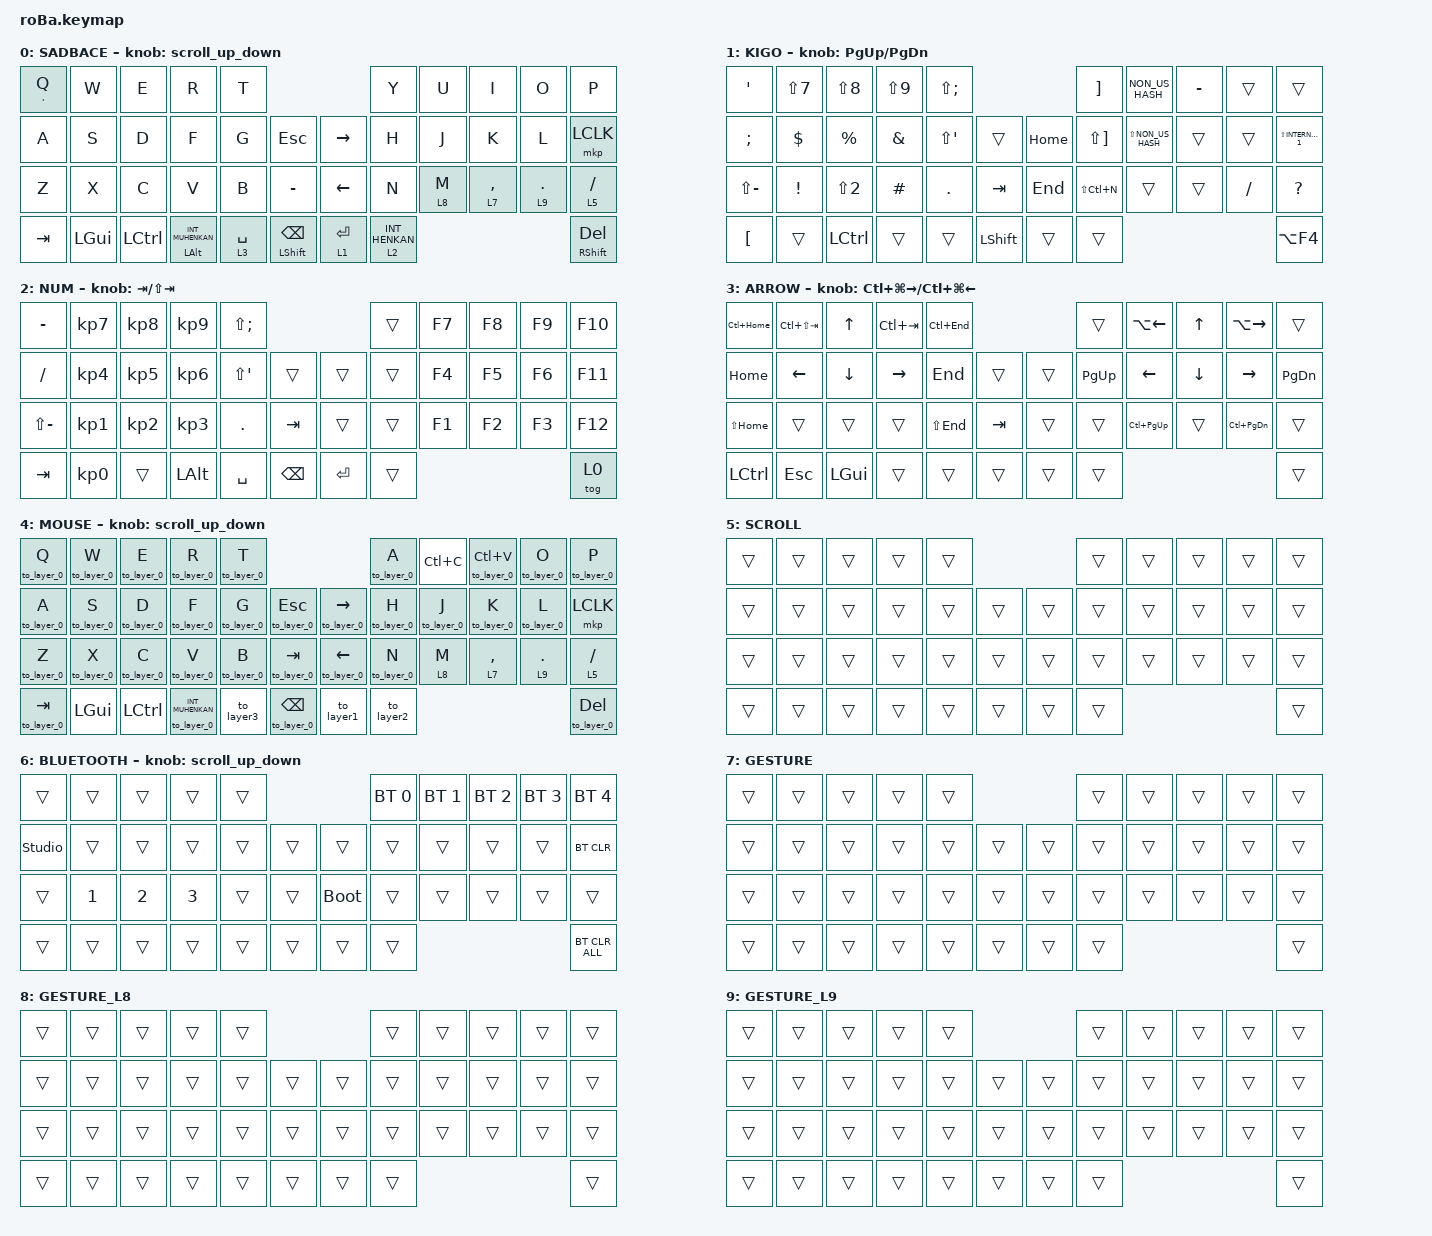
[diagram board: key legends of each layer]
#define ZMK_POINTING_DEFAULT_SCRL_VAL 80

#include <mouse-gesture.dtsi>
#include <behaviors.dtsi>
#include <dt-bindings/zmk/bt.h>
#include <dt-bindings/zmk/keys.h>
#include <dt-bindings/zmk/pointing.h>

// JIS 配列（OS 側のキーボード設定が日本語）で記号を正しく出すためのキーコード
#define JP_AT     LEFT_BRACKET
#define JP_LBKT   RIGHT_BRACKET
#define JP_RBKT   NON_US_HASH
#define JP_LBRC   LS(RIGHT_BRACKET)
#define JP_RBRC   LS(NON_US_HASH)
#define JP_COLON  SINGLE_QUOTE
#define JP_SQT    LS(NUMBER_7)
#define JP_DQT    LS(NUMBER_2)
#define JP_LPAR   LS(NUMBER_8)
#define JP_RPAR   LS(NUMBER_9)
#define JP_PLUS   LS(SEMICOLON)
#define JP_ASTRK  LS(SINGLE_QUOTE)
#define JP_EQUAL  LS(MINUS)
#define JP_UNDER  LS(INTERNATIONAL_1)

&mt {
    flavor = "balanced";
    quick-tap-ms = <0>;
};

&sl { release-after-ms = <250>; };

/ {
    combos {
        compatible = "zmk,combos";

        rightclike {
            bindings = <&mkp RCLK>;
            key-positions = <20 21>;
        };

        kyu-kei {
            bindings = <&kp LG(L)>;
            key-positions = <8 9>;
        };

        num {
            bindings = <&tog 2>;
            key-positions = <31 33 32>;
        };

        BT1 {
            bindings = <&bt BT_SEL 1>;
            key-positions = <6 5>;
        };

        BT2 {
            bindings = <&bt BT_SEL 2>;
            key-positions = <17 18>;
        };

        kasodesk {
            bindings = <&kp LG(LC(RIGHT_ARROW))>;
            key-positions = <16 17>;
        };

        kasodesk2 {
            bindings = <&kp LC(LG(LEFT))>;
            key-positions = <28 29>;
        };

        gaemnido {
            bindings = <&kp LG(LS(LEFT_ARROW))>;
            key-positions = <4 14>;
        };

        psc {
            bindings = <&kp PRINTSCREEN>;
            key-positions = <34 35>;
        };

        psct {
            bindings = <&kp LG(LS(S))>;
            key-positions = <22 23>;
        };

        zengamen {
            bindings = <&kp LG(UP_ARROW)>;
            key-positions = <5 17>;
        };

        layer6 {
            bindings = <&to 6>;
            key-positions = <0 10>;
        };
    };

    macros {
        to_layer_0: to_layer_0 {
            compatible = "zmk,behavior-macro-one-param";
            #binding-cells = <1>;
            bindings = <&to 0 &macro_param_1to1 &kp MACRO_PLACEHOLDER>;
            label = "TO_LAYER_0";
        };

        to_layer1: to_layer1 {
            compatible = "zmk,behavior-macro";
            #binding-cells = <0>;
            bindings =
                <&macro_tap>,
                <&to 1>,
                <&macro_pause_for_release>,
                <&macro_tap>,
                <&to 0>;

            label = "TO_LAYER1";
        };

        to_layer2: to_layer2 {
            compatible = "zmk,behavior-macro";
            #binding-cells = <0>;
            bindings =
                <&macro_tap>,
                <&to 2>,
                <&macro_pause_for_release>,
                <&macro_tap>,
                <&to 0>;

            label = "TO_LAYER2";
        };

        to_layer3: to_layer3 {
            compatible = "zmk,behavior-macro";
            #binding-cells = <0>;
            bindings =
                <&macro_tap>,
                <&to 3>,
                <&macro_pause_for_release>,
                <&macro_tap>,
                <&to 0>;

            label = "TO_LAYER3";
        };

        kakko: kakko {
            compatible = "zmk,behavior-macro";
            #binding-cells = <0>;
            bindings = <&kp INT_HENKAN &kp JP_LPAR &kp JP_RPAR &kp LEFT>;
            label = "NEW_MACRO";
        };

        mkp_exit_AML: mkp_exit_AML {
            compatible = "zmk,behavior-macro-one-param";
            #binding-cells = <1>;
            bindings =
                <&macro_press>,
                <&macro_param_1to1 &mkp MACRO_PLACEHOLDER>,
                <&macro_pause_for_release>,
                <&macro_release>,
                <&macro_param_1to1 &mkp MACRO_PLACEHOLDER>,
                <&macro_tap>,
                <&sl 4>;

            label = "MKP_EXIT_AML";
        };

        zerozero_macro: new_macro {
            compatible = "zmk,behavior-macro";
            #binding-cells = <0>;
            bindings = <&kp KP_NUMBER_0 &kp KP_NUMBER_0>;
            label = "NEW_MACRO";
        };
    };

    behaviors {
        lt_to_layer_0: lt_to_layer_0 {
            compatible = "zmk,behavior-hold-tap";
            label = "LAYER_TAP_TO_0";
            bindings = <&mo>, <&to_layer_0>;

            #binding-cells = <2>;
            tapping-term-ms = <200>;
        };

        scroll_up_down: mouse_wheel_up_down {
            compatible = "zmk,behavior-sensor-rotate";
            #sensor-binding-cells = <0>;
            tap-ms = <20>;
            bindings = <&msc SCRL_UP>, <&msc SCRL_DOWN>;
        };
    };

    layer_listeners {
        compatible = "zmk,layer-listeners";

        gesture_on_l7 {
            layers = <7>;
            bindings = <&mouse_gesture_on &mouse_gesture_off>;
        };

        gesture_on_l8 {
            layers = <8>;
            bindings = <&mouse_gesture_on &mouse_gesture_off>;
        };

        gesture_on_l9 {
            layers = <9>;
            bindings = <&mouse_gesture_on &mouse_gesture_off>;
        };
    };

    keymap {
        compatible = "zmk,keymap";

        default_layer {
            display-name = "SADBACE";
            bindings = <
&mt JP_COLON Q  &kp W       &kp E      &kp R                      &kp T                                                   &kp Y             &kp U    &kp I        &kp O         &kp P
&kp A        &kp S         &kp D      &kp F                      &kp G        &kp ESCAPE                &kp RIGHT_ARROW  &kp H             &kp J    &kp K        &kp L         &mkp LCLK
&kp Z        &kp X         &kp C      &kp V                      &kp B        &kp MINUS                 &kp LEFT_ARROW   &kp N             &lt 8 M  &lt 7 COMMA  &lt 9 PERIOD  &lt 5 SLASH
&kp TAB      &kp LEFT_GUI  &kp LCTRL  &mt LEFT_ALT INT_MUHENKAN  &lt 3 SPACE  &mt LSHIFT BACKSPACE      &lt 1 ENTER      &lt 2 INT_HENKAN                                      &mt RSHIFT DELETE
            >;

            sensor-bindings = <&scroll_up_down>;
        };

        FUNCTION {
            display-name = "KIGO";
            bindings = <
&kp JP_COLON   &kp JP_SQT       &kp JP_LPAR           &kp JP_RPAR            &kp JP_PLUS                                 &kp JP_LBKT       &kp JP_RBKT        &kp MINUS  &trans     &trans
&kp SEMICOLON  &kp DOLLAR       &kp PERCENT           &kp AMPERSAND          &kp JP_ASTRK  &trans              &kp HOME  &kp JP_LBRC       &kp JP_RBRC        &trans     &trans     &kp JP_UNDER
&kp JP_EQUAL   &kp EXCLAMATION  &kp JP_DQT            &kp HASH               &kp PERIOD    &kp TAB             &kp END   &kp LS(LC(N))     &trans             &trans     &kp SLASH  &kp QMARK
&kp JP_AT      &trans         &kp LCTRL             &trans                 &trans        &kp LEFT_SHIFT      &trans    &trans                                                     &kp LA(F4)
            >;

            sensor-bindings = <&inc_dec_kp PAGE_UP PAGE_DOWN>;
        };

        NUM {
            display-name = "NUM";
            bindings = <
&kp MINUS  &kp KP_NUMBER_7  &kp KP_NUMBER_8  &kp KP_NUMBER_9  &kp JP_PLUS                               &trans  &kp F7  &kp F8  &kp F9  &kp F10
&kp SLASH  &kp KP_NUMBER_4  &kp KP_NUMBER_5  &kp KP_NUMBER_6  &kp JP_ASTRK &trans             &trans     &trans  &kp F4  &kp F5  &kp F6  &kp F11
&kp JP_EQUAL  &kp KP_NUMBER_1  &kp KP_NUMBER_2  &kp KP_NUMBER_3  &kp PERIOD    &kp TAB            &trans     &trans  &kp F1  &kp F2  &kp F3  &kp F12
&kp TAB    &kp KP_NUMBER_0  &trans           &kp LEFT_ALT     &kp SPACE     &kp BACKSPACE      &kp ENTER  &trans                          &tog 0
            >;

            sensor-bindings = <&inc_dec_kp TAB LS(TAB)>;
        };

        ARROW {
            display-name = "ARROW";
            bindings = <
&kp LC(HOME)  &kp LC(LS(TAB))  &kp UP_ARROW    &kp LC(TAB)      &kp LC(END)                       &trans       &kp LA(LEFT_ARROW)  &kp UP_ARROW  &kp LA(RIGHT_ARROW)  &trans
&kp HOME      &kp LEFT_ARROW   &kp DOWN_ARROW  &kp RIGHT_ARROW  &kp END      &trans       &trans  &kp PAGE_UP  &kp LEFT            &kp DOWN      &kp RIGHT            &kp PAGE_DOWN
&kp LS(HOME)  &trans           &trans          &trans           &kp LS(END)  &kp TAB      &trans  &trans       &kp LC(PAGE_UP)     &trans        &kp LC(PAGE_DOWN)    &trans
&kp LCTRL     &kp ESCAPE       &kp LEFT_GUI    &trans           &trans       &trans       &trans  &trans                                                              &trans
            >;

            sensor-bindings = <&inc_dec_kp LC(LG(RIGHT)) LC(LG(LEFT))>;
        };

        MOUSE {
            display-name = "MOUSE";
            bindings = <
&to_layer_0 Q    &to_layer_0 W  &to_layer_0 E  &to_layer_0 R             &to_layer_0 T                                                &to_layer_0 A  &kp LC(C)           &to_layer_0 LC(V)       &to_layer_0 O            &to_layer_0 P
&to_layer_0 A    &to_layer_0 S  &to_layer_0 D  &to_layer_0 F             &to_layer_0 G  &to_layer_0 ESCAPE         &to_layer_0 RIGHT  &to_layer_0 H  &to_layer_0 J       &to_layer_0 K           &to_layer_0 L            &mkp LCLK
&to_layer_0 Z    &to_layer_0 X  &to_layer_0 C  &to_layer_0 V             &to_layer_0 B  &to_layer_0 TAB            &to_layer_0 LEFT   &to_layer_0 N  &lt_to_layer_0 8 M  &lt_to_layer_0 7 COMMA  &lt_to_layer_0 9 PERIOD  &lt_to_layer_0 5 SLASH
&to_layer_0 TAB  &kp LEFT_GUI   &kp LCTRL      &to_layer_0 INT_MUHENKAN  &to_layer3     &to_layer_0 BACKSPACE      &to_layer1         &to_layer2                                                                          &to_layer_0 DELETE
            >;

            sensor-bindings = <&scroll_up_down>;
        };

        SCROLL {
            display-name = "SCROLL";
            bindings = <
&trans  &trans  &trans  &trans  &trans                      &trans  &trans  &trans  &trans  &trans
&trans  &trans  &trans  &trans  &trans  &trans      &trans  &trans  &trans  &trans  &trans  &trans
&trans  &trans  &trans  &trans  &trans  &trans      &trans  &trans  &trans  &trans  &trans  &trans
&trans  &trans  &trans  &trans  &trans  &trans      &trans  &trans                          &trans
            >;
        };

        layer_6 {
            display-name = "BLUETOOTH";
            bindings = <
&trans  &trans        &trans        &trans        &trans                           &bt BT_SEL 0  &bt BT_SEL 1  &bt BT_SEL 2  &bt BT_SEL 3  &bt BT_SEL 4
&studio_unlock  &trans        &trans        &trans        &trans  &trans      &trans       &trans        &trans        &trans        &trans        &bt BT_CLR
&trans  &kp NUMBER_1  &kp NUMBER_2  &kp NUMBER_3  &trans  &trans      &bootloader  &trans        &trans        &trans        &trans        &trans
&trans  &trans        &trans        &trans        &trans  &trans      &trans       &trans                                                  &bt BT_CLR_ALL
            >;

            sensor-bindings = <&scroll_up_down>;
        };

        GESTURE {
            display-name = "GESTURE";
            bindings = <
&trans  &trans  &trans  &trans  &trans                      &trans  &trans  &trans  &trans  &trans
&trans  &trans  &trans  &trans  &trans  &trans      &trans  &trans  &trans  &trans  &trans  &trans
&trans  &trans  &trans  &trans  &trans  &trans      &trans  &trans  &trans  &trans  &trans  &trans
&trans  &trans  &trans  &trans  &trans  &trans      &trans  &trans                          &trans
            >;
        };

        GESTURE1 {
            display-name = "GESTURE_L8";
            bindings = <
&trans  &trans  &trans  &trans  &trans                      &trans  &trans  &trans  &trans  &trans
&trans  &trans  &trans  &trans  &trans  &trans      &trans  &trans  &trans  &trans  &trans  &trans
&trans  &trans  &trans  &trans  &trans  &trans      &trans  &trans  &trans  &trans  &trans  &trans
&trans  &trans  &trans  &trans  &trans  &trans      &trans  &trans                          &trans
            >;
        };

        GESTURE2 {
            display-name = "GESTURE_L9";
            bindings = <
&trans  &trans  &trans  &trans  &trans                      &trans  &trans  &trans  &trans  &trans
&trans  &trans  &trans  &trans  &trans  &trans      &trans  &trans  &trans  &trans  &trans  &trans
&trans  &trans  &trans  &trans  &trans  &trans      &trans  &trans  &trans  &trans  &trans  &trans
&trans  &trans  &trans  &trans  &trans  &trans      &trans  &trans                          &trans
            >;
        };
    };
};

&zip_mouse_gesture {
    stroke-size = <200>;
    enable-eager-mode;
    idle-timeout-ms = <150>;
    gesture-cooldown-ms = <300>;

    task_view {
        pattern = <GESTURE_UP>;
        bindings = <&kp LG(D)>;
    };

    show_desk {
        pattern = <GESTURE_DOWN>;
        bindings = <&kp LG(TAB)>;
    };

    vdesk_prev {
        pattern = <GESTURE_LEFT>;
        bindings = <&kp LG(LC(RIGHT))>;
    };

    vdesk_next {
        pattern = <GESTURE_RIGHT>;
        bindings = <&kp LG(LC(LEFT))>;
    };
};

/ {
    zip_mouse_gesture_l8: zip_mouse_gesture_l8 {
        compatible = "zmk,input-processor-mouse-gesture";
        #input-processor-cells = <0>;
        enable-eager-mode;
        stroke-size = <200>;
        idle-timeout-ms = <150>;
        gesture-cooldown-ms = <300>;

        select_all {
            pattern = <GESTURE_UP>;
            bindings = <&kp LC(A)>;
        };

        undo {
            pattern = <GESTURE_DOWN>;
            bindings = <&kp LC(Z)>;
        };

        copy {
            pattern = <GESTURE_LEFT>;
            bindings = <&kp LC(C)>;
        };

        paste {
            pattern = <GESTURE_RIGHT>;
            bindings = <&kp LC(V)>;
        };
    };

    zip_mouse_gesture_l9: zip_mouse_gesture_l9 {
        compatible = "zmk,input-processor-mouse-gesture";
        #input-processor-cells = <0>;
        enable-eager-mode;
        stroke-size = <200>;
        idle-timeout-ms = <150>;
        gesture-cooldown-ms = <300>;

        zoom_in {
            pattern = <GESTURE_UP>;
            bindings = <&kp LC(KP_PLUS)>;
        };

        zoom_out {
            pattern = <GESTURE_DOWN>;
            bindings = <&kp LC(MINUS)>;
        };

        go_back {
            pattern = <GESTURE_LEFT>;
            bindings = <&kp LA(LEFT)>;
        };

        go_forward {
            pattern = <GESTURE_RIGHT>;
            bindings = <&kp LA(RIGHT)>;
        };
    };
};
